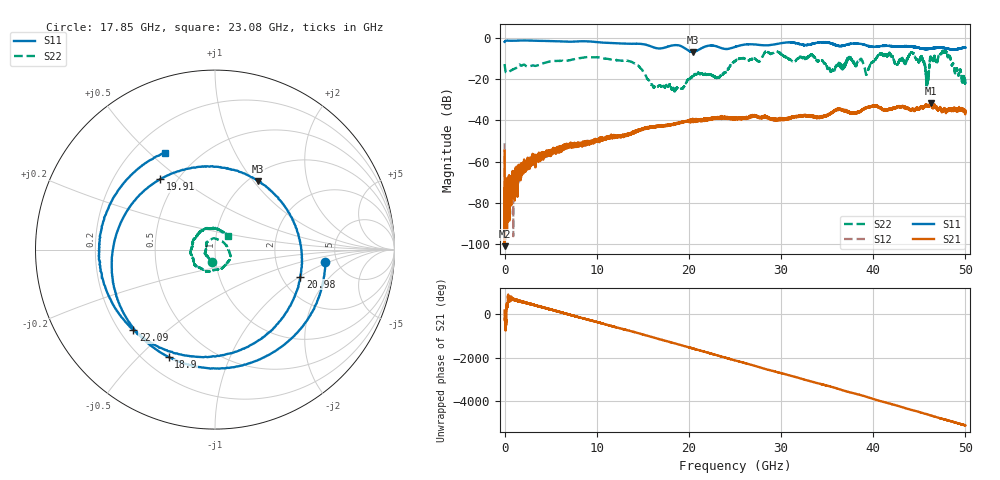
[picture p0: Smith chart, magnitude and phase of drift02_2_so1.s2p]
!Created with skrf (http://scikit-rf.org).
# Hz S RI R 50.0
!freq ReS11 ImS11 ReS21 ImS21 ReS12 ImS12 ReS22 ImS22
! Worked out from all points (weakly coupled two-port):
!   10001 points, 300 kHz to 50 GHz, reference 50 ohm
!   highest |S21| = -31.71 dB at 46.23 GHz (marker M1); lowest = -100.9 dB at 10.3 MHz (marker M2)
!   lowest |S11| = -7.0 dB at 20.41 GHz (marker M3), VSWR 2.63, Z = 55.1 + j52.5 ohm
!   |S11| at or under -10 dB: nowhere
!   |S22| runs from -26.2 to -6.2 dB; largest |S21 - S12| = 0.0046
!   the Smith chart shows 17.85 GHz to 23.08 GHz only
!   S11 on the Smith chart (normalised r, x): 17.85 GHz: 4.03, -0.91; 18.9 GHz: 0.30, -0.62; 19.91 GHz: 0.41, +0.42; 20.98 GHz: 2.53, -1.01; 22.09 GHz: 0.26, -0.39; 23.08 GHz: 0.33, +0.56
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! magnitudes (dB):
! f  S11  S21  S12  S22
! 300 kHz  -2.1  -54.7  -51.1  -12.7
! 10.3 MHz  -2.1  -100.9  -68.8  -13.4
! 265.3 MHz  -1.4  -74.9  -80.3  -17.0
! 2.985 GHz  -1.4  -60.3  -58.8  -13.5
! 8.335 GHz  -1.7  -51.9  -51.7  -9.8
! 13.7 GHz  -3.0  -46.6  -46.5  -11.6
! 16.67 GHz  -5.2  -43.0  -43.0  -23.4
! 17.85 GHz  -4.2  -42.3  -42.2  -23.1
! 18.9 GHz  -3.7  -41.0  -41.4  -24.4
! 19.91 GHz  -6.1  -40.6  -40.3  -20.2
! 20.41 GHz  -7.0  -39.9  -40.2  -19.1
! 20.98 GHz  -6.0  -39.8  -40.0  -16.9
! 22.09 GHz  -3.9  -39.3  -39.4  -17.8
! 23.08 GHz  -4.3  -38.8  -38.8  -19.4
! 25 GHz  -4.5  -39.4  -38.9  -11.3
! 33.34 GHz  -3.0  -37.8  -37.6  -8.3
! 39.31 GHz  -3.8  -33.9  -33.8  -17.5
! 41.67 GHz  -4.0  -34.6  -34.6  -7.8
! 45.85 GHz  -5.5  -33.2  -33.1  -23.7
! 46.23 GHz  -5.3  -31.7  -31.9  -9.0
! 47.77 GHz  -5.1  -34.5  -34.9  -6.7
! 50 GHz  -4.8  -35.7  -36.5  -20.3
